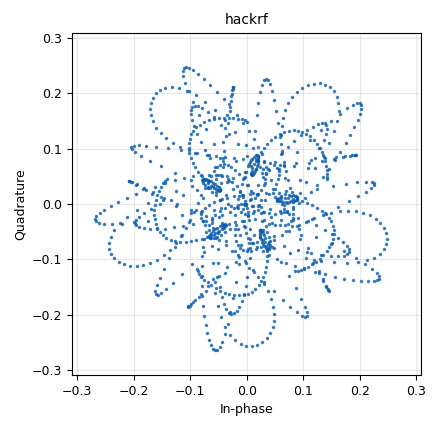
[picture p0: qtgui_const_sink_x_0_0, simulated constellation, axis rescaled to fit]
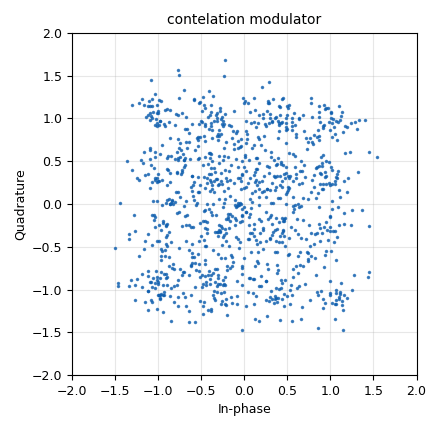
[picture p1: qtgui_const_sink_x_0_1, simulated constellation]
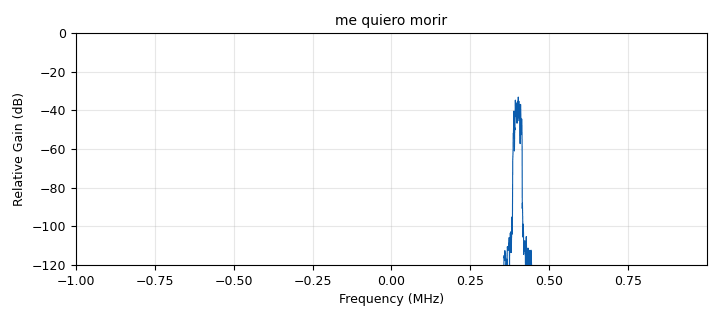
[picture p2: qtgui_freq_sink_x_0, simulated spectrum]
options:
  parameters:
    author: popo
    generate_options: qt_gui
    id: Task6SdrTx
    output_language: python
    title: Task6SdrTx
  states: {}

blocks:
- name: M_qam
  id: variable_qtgui_chooser
  parameters:
    label: Order M-QAM
    labels: '[''8-QAM'', ''16-QAM'', ''32-QAM'', ''64-QAM'', ''128-QAM'', ''256-QAM'']'
    num_opts: '0'
    options: '[8, 16, 32, 64, 128, 256]'
    type: int
    value: '16'
  states: {}
- name: alpha
  id: variable
  parameters:
    value: '0.22'
  states: {}
- name: bb_samp_rate
  id: variable
  parameters:
    value: sym_rate*sps
  states: {}
- name: const
  id: variable_constellation
  parameters:
    precision: '8'
    type: 16qam
  states: {}
- name: rf_freq
  id: variable
  parameters:
    value: 915e6
  states: {}
- name: rrc_alpha
  id: variable
  parameters:
    value: '0.35'
  states: {}
- name: rx_xlate
  id: variable
  parameters:
    value: '413000'
  states: {}
- name: samp_rate
  id: variable
  parameters:
    value: '32000'
  states: {}
- name: sdr_samp_rate
  id: variable
  parameters:
    value: '2000000'
  states: {}
- name: sps
  id: variable
  parameters:
    value: '4'
  states: {}
- name: sym_rate
  id: variable
  parameters:
    value: '25000'
  states: {}
- name: tx_offset
  id: variable
  parameters:
    value: '400000'
  states: {}
- name: analog_random_source_x_0
  id: analog_random_source_x
  parameters:
    max: '255'
    min: '0'
    num_samps: '100000'
    repeat: 'True'
    type: byte
  states: {}
- name: analog_sig_source_x_0
  id: analog_sig_source_x
  parameters:
    amp: '1'
    freq: tx_offset
    offset: '0'
    phase: '0'
    samp_rate: sdr_samp_rate
    type: complex
    waveform: analog.GR_COS_WAVE
  states: {state: disabled}
- name: analog_sig_source_x_0_0
  id: analog_sig_source_x
  parameters:
    amp: '1'
    freq: '400000'
    offset: '0'
    phase: '0'
    samp_rate: '2000000'
    type: complex
    waveform: analog.GR_COS_WAVE
  states: {state: disabled}
- name: blocks_multiply_const_vxx_1
  id: blocks_multiply_const_vxx
  parameters:
    const: '0.15'
    type: complex
  states: {}
- name: blocks_multiply_const_vxx_1_0
  id: blocks_multiply_const_vxx
  parameters:
    const: '0.7'
    type: complex
  states: {state: disabled}
- name: blocks_multiply_xx_0
  id: blocks_multiply_xx
  parameters:
    type: complex
  states: {state: disabled}
- name: blocks_rotator_cc_0
  id: blocks_rotator_cc
  parameters:
    phase_inc: 2*3.141592653589793*400000/2000000
  states: {}
- name: blocks_throttle2_0
  id: blocks_throttle2
  parameters:
    samples_per_second: '2000000'
    type: complex
  states: {state: disabled}
- name: digital_constellation_modulator_0
  id: digital_constellation_modulator
  parameters:
    constellation: const
    differential: 'True'
    excess_bw: alpha
    samples_per_symbol: sps
  states: {}
- name: epy_block_0
  id: epy_block
  parameters:
    M_qam: M_qam
    _source_code: |-
      import numpy as np
      from gnuradio import gr


      class blk(gr.basic_block):
          """
          Modulador rectangular M-QAM.

          Entrada:
              Bytes uint8.

          Salida:
              Símbolos complejos M-QAM normalizados.

          Valores admitidos:
              M = 8, 16, 32, 64, 128, 256.
          """

          def __init__(self, M_qam=16):
              gr.basic_block.__init__(
                  self,
                  name="qam_mapper_rect",
                  in_sig=[np.uint8],
                  out_sig=[np.complex64],
              )

              self.bit_buffer = []
              self.set_M_qam(M_qam)
              self._last_M_qam = self.M_qam

          def set_M_qam(self, M_qam):
              M_qam = int(M_qam)

              print(f"[qam_mapper_rect] M_qam recibido = {M_qam}", flush=True)

              if M_qam not in [8, 16, 32, 64, 128, 256]:
                  M_qam = 16

              self.M_qam = M_qam
              self.k = int(np.log2(self.M_qam))

              # QAM rectangular:
              # 8-QAM   = 4 x 2
              # 16-QAM  = 4 x 4
              # 32-QAM  = 8 x 4
              # 64-QAM  = 8 x 8
              # 128-QAM = 16 x 8
              # 256-QAM = 16 x 16
              self.i_bits = (self.k + 1) // 2
              self.q_bits = self.k // 2

              self.i_levels = 1 << self.i_bits
              self.q_levels = 1 << self.q_bits

              self.i_values = np.arange(
                  -(self.i_levels - 1),
                  self.i_levels,
                  2,
                  dtype=np.float32
              )

              self.q_values = np.arange(
                  -(self.q_levels - 1),
                  self.q_levels,
                  2,
                  dtype=np.float32
              )

              avg_power = (
                  (self.i_levels ** 2 - 1) / 3.0 +
                  (self.q_levels ** 2 - 1) / 3.0
              )

              self.norm = np.float32(np.sqrt(avg_power))

              self.constellation = np.zeros(self.M_qam, dtype=np.complex64)

              for idx in range(self.M_qam):
                  i_idx = idx % self.i_levels
                  q_idx = idx // self.i_levels

                  i_val = self.i_values[i_idx]
                  q_val = self.q_values[q_idx]

                  self.constellation[idx] = (i_val + 1j * q_val) / self.norm

              # Al cambiar M se limpia el buffer para evitar mezclar grupos de bits.
              self.bit_buffer = []

          def _byte_to_bits(self, value):
              return [(int(value) >> i) & 1 for i in range(7, -1, -1)]

          def general_work(self, input_items, output_items):
              inp = input_items[0]
              out = output_items[0]

              produced = 0
              consumed = 0

              # Detección de cambio dinámico desde el QT GUI Chooser.
              if int(self.M_qam) != int(self._last_M_qam):
                  self.set_M_qam(self.M_qam)
                  self._last_M_qam = self.M_qam

                  print(
                      f"[qam_mapper_rect] cambio dinámico a M_qam = {self.M_qam}",
                      flush=True
                  )

              # Primero se vacían símbolos pendientes del buffer interno.
              while len(self.bit_buffer) >= self.k and produced < len(out):
                  symbol_bits = self.bit_buffer[:self.k]
                  del self.bit_buffer[:self.k]

                  idx = 0

                  for bit in symbol_bits:
                      idx = (idx << 1) | int(bit)

                  out[produced] = self.constellation[idx]
                  produced += 1

              # Luego se consumen nuevos bytes, pero solo si hay espacio suficiente
              # para emitir los símbolos completos que se formen.
              while consumed < len(inp) and produced < len(out):
                  remaining_output_space = len(out) - produced

                  symbols_after_next_byte = (len(self.bit_buffer) + 8) // self.k

                  if symbols_after_next_byte > remaining_output_space:
                      break

                  self.bit_buffer.extend(self._byte_to_bits(inp[consumed]))
                  consumed += 1

                  while len(self.bit_buffer) >= self.k and produced < len(out):
                      symbol_bits = self.bit_buffer[:self.k]
                      del self.bit_buffer[:self.k]

                      idx = 0

                      for bit in symbol_bits:
                          idx = (idx << 1) | int(bit)

                      out[produced] = self.constellation[idx]
                      produced += 1

              self.consume(0, consumed)

              return produced
  states: {state: disabled}
- name: qtgui_const_sink_x_0
  id: qtgui_const_sink_x
  parameters:
    name: '"contelation modulator"'
    size: '1024'
    type: complex
  states: {state: disabled}
- name: qtgui_const_sink_x_0_0
  id: qtgui_const_sink_x
  parameters:
    name: '"hackrf"'
    size: '1024'
    type: complex
    xmax: '0.15'
    xmin: '-0.15'
    ymax: '0.15'
    ymin: '-0.15'
  states: {}
- name: qtgui_const_sink_x_0_1
  id: qtgui_const_sink_x
  parameters:
    name: '"contelation modulator"'
    size: '1024'
    type: complex
  states: {}
- name: qtgui_freq_sink_x_0
  id: qtgui_freq_sink_x
  parameters:
    bw: sdr_samp_rate
    fc: '0'
    fftsize: '4096'
    name: '"me quiero morir"'
    type: complex
    ymax: '0'
    ymin: '-120'
  states: {}
- name: qtgui_freq_sink_x_0_0
  id: qtgui_freq_sink_x
  parameters:
    bw: '2000000'
    fc: '0'
    fftsize: '4096'
    type: complex
  states: {state: disabled}
- name: rational_resampler_xxx_0
  id: rational_resampler_xxx
  parameters:
    decim: '1'
    interp: '20'
    type: ccc
  states: {}
- name: root_raised_cosine_filter_0
  id: root_raised_cosine_filter
  parameters:
    alpha: rrc_alpha
    gain: '1'
    interp: sps
    ntaps: 11*sps
    samp_rate: bb_samp_rate
    sym_rate: sym_rate
    type: interp_fir_filter_ccf
  states: {state: disabled}
- name: soapy_hackrf_sink_0
  id: soapy_hackrf_sink
  parameters:
    amp: '0'
    center_freq: rf_freq
    dev_args: '0'
    samp_rate: sdr_samp_rate
    type: fc32
    vga: '30'
  states: {}

connections:
- [analog_random_source_x_0, '0', digital_constellation_modulator_0, '0']
- [analog_sig_source_x_0, '0', blocks_multiply_xx_0, '1']
- [analog_sig_source_x_0_0, '0', blocks_throttle2_0, '0']
- [blocks_multiply_const_vxx_1, '0', qtgui_const_sink_x_0_0, '0']
- [blocks_multiply_const_vxx_1, '0', qtgui_freq_sink_x_0, '0']
- [blocks_multiply_const_vxx_1, '0', soapy_hackrf_sink_0, '0']
- [blocks_multiply_const_vxx_1_0, '0', qtgui_const_sink_x_0, '0']
- [blocks_multiply_const_vxx_1_0, '0', root_raised_cosine_filter_0, '0']
- [blocks_multiply_xx_0, '0', blocks_multiply_const_vxx_1, '0']
- [blocks_rotator_cc_0, '0', blocks_multiply_const_vxx_1, '0']
- [blocks_throttle2_0, '0', blocks_multiply_const_vxx_1, '0']
- [blocks_throttle2_0, '0', qtgui_freq_sink_x_0_0, '0']
- [digital_constellation_modulator_0, '0', qtgui_const_sink_x_0, '0']
- [digital_constellation_modulator_0, '0', qtgui_const_sink_x_0_1, '0']
- [digital_constellation_modulator_0, '0', rational_resampler_xxx_0, '0']
- [epy_block_0, '0', blocks_multiply_const_vxx_1_0, '0']
- [rational_resampler_xxx_0, '0', blocks_multiply_xx_0, '0']
- [rational_resampler_xxx_0, '0', blocks_rotator_cc_0, '0']
- [root_raised_cosine_filter_0, '0', rational_resampler_xxx_0, '0']

metadata:
  file_format: 1
  grc_version: 3.10.9.2
